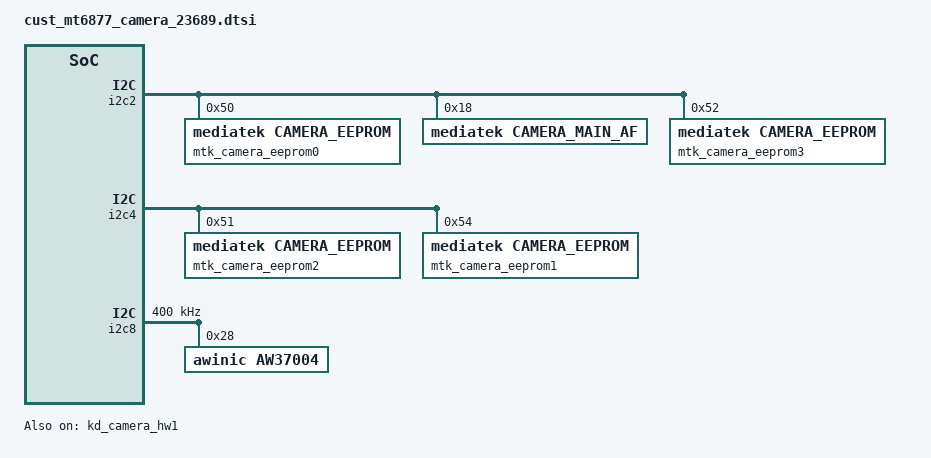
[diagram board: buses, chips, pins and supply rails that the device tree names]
/*
 * Copyright (c) 2019 MediaTek Inc.
 *
 * This program is free software; you can redistribute it and/or modify
 * it under the terms of the GNU General Public License version 2 as
 * published by the Free Software Foundation.
 *
 * This program is distributed in the hope that it will be useful,
 * but WITHOUT ANY WARRANTY; without even the implied warranty of
 * MERCHANTABILITY or FITNESS FOR A PARTICULAR PURPOSE.  See the
 * GNU General Public License for more details.
 */
/* CAMERA GPIO standardization */

&pio {
	camera_pins_cam0_rst_0: cam0@cam0 {
		pins_cmd_dat {
			pinmux = <PINMUX_GPIO161__FUNC_GPIO161>;
			slew-rate = <1>;
			output-low;
		};
	};
	camera_pins_cam0_rst_1: cam0@cam1 {
		pins_cmd_dat {
			pinmux = <PINMUX_GPIO161__FUNC_GPIO161>;
			slew-rate = <1>;
			output-high;
		};
	};
	camera_pins_cam1_rst_0: cam1@vcam0 {
		pins_cmd_dat {
			pinmux = <PINMUX_GPIO155__FUNC_GPIO155>;
			slew-rate = <1>;
			output-low;
		};
	};
	camera_pins_cam1_rst_1: cam1@vcam1 {
		pins_cmd_dat {
			pinmux = <PINMUX_GPIO155__FUNC_GPIO155>;
			slew-rate = <1>;
			output-high;
		};
	};
	camera_pins_cam2_rst_0: cam2@cam0 {
		pins_cmd_dat {
			pinmux = <PINMUX_GPIO163__FUNC_GPIO163>;
			slew-rate = <1>;
			output-low;
		};
	};
	camera_pins_cam2_rst_1: cam2@cam1 {
		pins_cmd_dat {
			pinmux = <PINMUX_GPIO163__FUNC_GPIO163>;
			slew-rate = <1>;
			output-high;
		};
	};
	camera_pins_cam3_rst_0: cam3@cam0 {
		pins_cmd_dat {
			pinmux = <PINMUX_GPIO159__FUNC_GPIO159>;
			slew-rate = <1>;
			output-low;
		};
	};
	camera_pins_cam3_rst_1: cam3@cam1 {
		pins_cmd_dat {
			pinmux = <PINMUX_GPIO159__FUNC_GPIO159>;
			slew-rate = <1>;
			output-high;
		};
	};
	camera_pins_cam0_vcamaf_0: cam0@cam2 {
		pins_cmd_dat {
			pinmux = <PINMUX_GPIO111__FUNC_GPIO111>;
			slew-rate = <1>;
			output-low;
		};
	};
	camera_pins_cam0_vcamaf_1: cam0@cam3 {
		pins_cmd_dat {
			pinmux = <PINMUX_GPIO111__FUNC_GPIO111>;
			slew-rate = <1>;
			output-high;
		};
	};
	camera_pins_cam0_vcama1_0: cam0@vcam4 {
		pins_cmd_dat {
			pinmux = <PINMUX_GPIO106__FUNC_GPIO106>;
			slew-rate = <1>;
			output-low;
		};
	};
	camera_pins_cam0_vcama1_1: cam0@vcam5 {
		pins_cmd_dat {
			pinmux = <PINMUX_GPIO106__FUNC_GPIO106>;
			slew-rate = <1>;
			output-high;
		};
	};
	camera_pins_cam0_pnd_0: cam0@vcam6 {
		pins_cmd_dat {
			pinmux = <PINMUX_GPIO158__FUNC_GPIO158>;
			slew-rate = <1>;
			output-low;
		};
	};
	camera_pins_cam0_pnd_1: cam0@vcam7 {
		pins_cmd_dat {
			pinmux = <PINMUX_GPIO158__FUNC_GPIO158>;
			slew-rate = <1>;
			output-high;
		};
	};
	camera_pins_cam0_vcamois_0: cam0@vcam8 {
		pins_cmd_dat {
			pinmux = <PINMUX_GPIO3__FUNC_TP_GPIO3_AO>;
			slew-rate = <0>;
			output-low;
		};
	};
	camera_pins_cam0_vcamois_1: cam0@vcam9 {
		pins_cmd_dat {
			pinmux = <PINMUX_GPIO3__FUNC_TP_GPIO3_AO>;
			slew-rate = <0>;
			output-high;
		};
	};
	camera_pins_cam1_pnd_0: cam1@vcam2 {
		pins_cmd_dat {
			pinmux = <PINMUX_GPIO158__FUNC_GPIO158>;
			slew-rate = <1>;
			output-low;
		};
	};
	camera_pins_cam1_pnd_1: cam1@vcam3 {
		pins_cmd_dat {
			pinmux = <PINMUX_GPIO158__FUNC_GPIO158>;
			slew-rate = <1>;
			output-high;
		};
	};
	camera_pins_cam2_pnd_0: cam2@vcam2 {
		pins_cmd_dat {
			pinmux = <PINMUX_GPIO158__FUNC_GPIO158>;
			slew-rate = <1>;
			output-low;
		};
	};
	camera_pins_cam2_pnd_1: cam2@vcam3 {
		pins_cmd_dat {
			pinmux = <PINMUX_GPIO158__FUNC_GPIO158>;
			slew-rate = <1>;
			output-high;
		};
	};
	camera_pins_cam2_vcama_0: cam2@vcam4 {
		pins_cmd_dat {
			pinmux = <PINMUX_GPIO138__FUNC_GPIO138>;
			slew-rate = <1>;
			output-low;
		};
	};
	camera_pins_cam2_vcama_1: cam2@vcam5 {
		pins_cmd_dat {
			pinmux = <PINMUX_GPIO138__FUNC_GPIO138>;
			slew-rate = <1>;
			output-high;
		};
	};
	camera_pins_cam2_vcamd_0: cam2@vcam6 {
		pins_cmd_dat {
			pinmux = <PINMUX_GPIO109__FUNC_GPIO109>;
			slew-rate = <1>;
			output-low;
		};
	};
	camera_pins_cam2_vcamd_1: cam2@vcam7 {
		pins_cmd_dat {
			pinmux = <PINMUX_GPIO109__FUNC_GPIO109>;
			slew-rate = <1>;
			output-high;
		};
	};
	camera_pins_cam3_vcama_0: cam3@vcam2 {
		pins_cmd_dat {
			pinmux = <PINMUX_GPIO138__FUNC_GPIO138>;
			slew-rate = <1>;
			output-low;
		};
	};
	camera_pins_cam3_vcama_1: cam3@vcam3 {
		pins_cmd_dat {
			pinmux = <PINMUX_GPIO138__FUNC_GPIO138>;
			slew-rate = <1>;
			output-high;
		};
	};
	camera_pins_cam0_mclk_off: camera_pins_cam0_mclk_off {
		pins_cmd_dat {
			pinmux = <PINMUX_GPIO149__FUNC_GPIO149>;
			drive-strength = <1>;
		};
	};
	camera_pins_cam0_mclk_2ma: camera_pins_cam0_mclk_2ma {
		pins_cmd_dat {
			pinmux = <PINMUX_GPIO149__FUNC_CMMCLK0>;
			drive-strength = <0>;
		};
	};
	camera_pins_cam0_mclk_4ma: camera_pins_cam0_mclk_4ma {
		pins_cmd_dat {
			pinmux = <PINMUX_GPIO149__FUNC_CMMCLK0>;
			drive-strength = <1>;
		};
	};
	camera_pins_cam0_mclk_6ma: camera_pins_cam0_mclk_6ma {
		pins_cmd_dat {
			pinmux = <PINMUX_GPIO149__FUNC_CMMCLK0>;
			drive-strength = <2>;
		};
	};
	camera_pins_cam0_mclk_8ma: camera_pins_cam0_mclk_8ma {
		pins_cmd_dat {
			pinmux = <PINMUX_GPIO149__FUNC_CMMCLK0>;
			drive-strength = <3>;
		};
	};
	camera_pins_cam1_mclk_off: camera_pins_cam1_mclk_off {
		pins_cmd_dat {
			pinmux = <PINMUX_GPIO153__FUNC_GPIO153>;
			drive-strength = <1>;
		};
	};
	camera_pins_cam1_mclk_2ma: camera_pins_cam1_mclk_2ma {
		pins_cmd_dat {
			pinmux = <PINMUX_GPIO153__FUNC_CMMCLK4>;
			drive-strength = <0>;
		};
	};
	camera_pins_cam1_mclk_4ma: camera_pins_cam1_mclk_4ma {
		pins_cmd_dat {
			pinmux = <PINMUX_GPIO153__FUNC_CMMCLK4>;
			drive-strength = <1>;
		};
	};
	camera_pins_cam1_mclk_6ma: camera_pins_cam1_mclk_6ma {
		pins_cmd_dat {
			pinmux = <PINMUX_GPIO153__FUNC_CMMCLK4>;
			drive-strength = <2>;
		};
	};
	camera_pins_cam1_mclk_8ma: camera_pins_cam1_mclk_8ma {
		pins_cmd_dat {
			pinmux = <PINMUX_GPIO153__FUNC_CMMCLK4>;
			drive-strength = <3>;
		};
	};
	camera_pins_cam2_mclk_off: camera_pins_cam2_mclk_off {
		pins_cmd_dat {
			pinmux = <PINMUX_GPIO150__FUNC_GPIO150>;
			drive-strength = <1>;
		};
	};
	camera_pins_cam2_mclk_2ma: camera_pins_cam2_mclk_2ma {
		pins_cmd_dat {
			pinmux = <PINMUX_GPIO150__FUNC_CMMCLK1>;
			drive-strength = <0>;
		};
	};
	camera_pins_cam2_mclk_4ma: camera_pins_cam2_mclk_4ma {
		pins_cmd_dat {
			pinmux = <PINMUX_GPIO150__FUNC_CMMCLK1>;
			drive-strength = <1>;
		};
	};
	camera_pins_cam2_mclk_6ma: camera_pins_cam2_mclk_6ma {
		pins_cmd_dat {
			pinmux = <PINMUX_GPIO150__FUNC_CMMCLK1>;
			drive-strength = <2>;
		};
	};
	camera_pins_cam2_mclk_8ma: camera_pins_cam2_mclk_8ma {
		pins_cmd_dat {
			pinmux = <PINMUX_GPIO150__FUNC_CMMCLK1>;
			drive-strength = <3>;
		};
	};
	camera_pins_cam3_mclk_off: camera_pins_cam3_mclk_off {
		pins_cmd_dat {
			pinmux = <PINMUX_GPIO151__FUNC_GPIO151>;
			drive-strength = <1>;
		};
	};
	camera_pins_cam3_mclk_2ma: camera_pins_cam3_mclk_2ma {
		pins_cmd_dat {
			pinmux = <PINMUX_GPIO151__FUNC_CMMCLK2>;
			drive-strength = <0>;
		};
	};
	camera_pins_cam3_mclk_4ma: camera_pins_cam3_mclk_4ma {
		pins_cmd_dat {
			pinmux = <PINMUX_GPIO151__FUNC_CMMCLK2>;
			drive-strength = <1>;
		};
	};
	camera_pins_cam3_mclk_6ma: camera_pins_cam3_mclk_6ma {
		pins_cmd_dat {
			pinmux = <PINMUX_GPIO151__FUNC_CMMCLK2>;
			drive-strength = <2>;
		};
	};
	camera_pins_cam3_mclk_8ma: camera_pins_cam3_mclk_8ma {
		pins_cmd_dat {
			pinmux = <PINMUX_GPIO151__FUNC_CMMCLK2>;
			drive-strength = <3>;
		};
	};
	camera_pins_default: camdefault {
	};
};
&kd_camera_hw1 {
	pinctrl-names = "default",
			"cam0_rst0", "cam0_rst1",
			"cam1_rst0", "cam1_rst1",
			"cam2_rst0", "cam2_rst1",
			"cam3_rst0", "cam3_rst1",
			"cam0_ldo_vcamaf_0", "cam0_ldo_vcamaf_1",
			"cam0_ldo_vcama1_0", "cam0_ldo_vcama1_1",
			"cam0_pnd0", "cam0_pnd1",
			"cam0_ldo_vcamois_0", "cam0_ldo_vcamois_1",
			"cam1_pnd0", "cam1_pnd1",
			"cam2_pnd0", "cam2_pnd1",
			"cam2_ldo_vcama_0", "cam2_ldo_vcama_1",
			"cam2_ldo_vcamd_0", "cam2_ldo_vcamd_1",
			"cam3_ldo_vcama_0", "cam3_ldo_vcama_1",
			"cam0_mclk_off",
			"cam0_mclk_2mA", "cam0_mclk_4mA",
			"cam0_mclk_6mA", "cam0_mclk_8mA",
			"cam1_mclk_off",
			"cam1_mclk_2mA", "cam1_mclk_4mA",
			"cam1_mclk_6mA", "cam1_mclk_8mA",
			"cam2_mclk_off",
			"cam2_mclk_2mA", "cam2_mclk_4mA",
			"cam2_mclk_6mA", "cam2_mclk_8mA",
			"cam3_mclk_off",
			"cam3_mclk_2mA", "cam3_mclk_4mA",
			"cam3_mclk_6mA", "cam3_mclk_8mA";

	pinctrl-0 = <&camera_pins_default>;
	pinctrl-1 = <&camera_pins_cam0_rst_0>;
	pinctrl-2 = <&camera_pins_cam0_rst_1>;
	pinctrl-3 = <&camera_pins_cam1_rst_0>;
	pinctrl-4 = <&camera_pins_cam1_rst_1>;
	pinctrl-5 = <&camera_pins_cam2_rst_0>;
	pinctrl-6 = <&camera_pins_cam2_rst_1>;
	pinctrl-7 = <&camera_pins_cam3_rst_0>;
	pinctrl-8 = <&camera_pins_cam3_rst_1>;
	pinctrl-9 = <&camera_pins_cam0_vcamaf_0>;
	pinctrl-10 = <&camera_pins_cam0_vcamaf_1>;
	pinctrl-11 = <&camera_pins_cam0_vcama1_0>;
	pinctrl-12 = <&camera_pins_cam0_vcama1_1>;
	pinctrl-13 = <&camera_pins_cam0_pnd_0>;
	pinctrl-14 = <&camera_pins_cam0_pnd_1>;
	pinctrl-15 = <&camera_pins_cam0_vcamois_0>;
	pinctrl-16 = <&camera_pins_cam0_vcamois_1>;
	pinctrl-17 = <&camera_pins_cam1_pnd_0>;
	pinctrl-18 = <&camera_pins_cam1_pnd_1>;
	pinctrl-19 = <&camera_pins_cam2_pnd_0>;
	pinctrl-20 = <&camera_pins_cam2_pnd_1>;
	pinctrl-21 = <&camera_pins_cam2_vcama_0>;
	pinctrl-22 = <&camera_pins_cam2_vcama_1>;
	pinctrl-23 = <&camera_pins_cam2_vcamd_0>;
	pinctrl-24 = <&camera_pins_cam2_vcamd_1>;
	pinctrl-25 = <&camera_pins_cam3_vcama_0>;
	pinctrl-26 = <&camera_pins_cam3_vcama_1>;
	pinctrl-27 = <&camera_pins_cam0_mclk_off>;
	pinctrl-28 = <&camera_pins_cam0_mclk_2ma>;
	pinctrl-29 = <&camera_pins_cam0_mclk_4ma>;
	pinctrl-30 = <&camera_pins_cam0_mclk_6ma>;
	pinctrl-31 = <&camera_pins_cam0_mclk_8ma>;
	pinctrl-32 = <&camera_pins_cam1_mclk_off>;
	pinctrl-33 = <&camera_pins_cam1_mclk_2ma>;
	pinctrl-34 = <&camera_pins_cam1_mclk_4ma>;
	pinctrl-35 = <&camera_pins_cam1_mclk_6ma>;
	pinctrl-36 = <&camera_pins_cam1_mclk_8ma>;
	pinctrl-37 = <&camera_pins_cam2_mclk_off>;
	pinctrl-38 = <&camera_pins_cam2_mclk_2ma>;
	pinctrl-39 = <&camera_pins_cam2_mclk_4ma>;
	pinctrl-40 = <&camera_pins_cam2_mclk_6ma>;
	pinctrl-41 = <&camera_pins_cam2_mclk_8ma>;
	pinctrl-42 = <&camera_pins_cam3_mclk_off>;
	pinctrl-43 = <&camera_pins_cam3_mclk_2ma>;
	pinctrl-44 = <&camera_pins_cam3_mclk_4ma>;
	pinctrl-45 = <&camera_pins_cam3_mclk_6ma>;
	pinctrl-46 = <&camera_pins_cam3_mclk_8ma>;

	cam0_vcamio-supply = <&mt_pmic_vcamio_ldo_reg>;
	cam1_vcamio-supply = <&mt_pmic_vcamio_ldo_reg>;
	cam2_vcamio-supply = <&mt_pmic_vcamio_ldo_reg>;
	cam3_vcamio-supply = <&mt_pmic_vcamio_ldo_reg>;

	cam0_enable_sensor = "imx890_mipi_raw23689";
	cam1_enable_sensor = "hi1634q_mipi_raw23687";
	cam2_enable_sensor = "hi846w_mipi_raw23687";
	cam3_enable_sensor = "gc02m1_mipi_raw23687";

	status = "okay";
};
/* CAMERA GPIO end */

 /*CAMERA EEPROM*/
&i2c2 {
	mtk_camera_eeprom0:camera_eeprom0@50 {
		compatible = "mediatek,camera_eeprom";
		reg = <0x50>;
		status = "okay";
	};
	camera_main_af:camera_main_af@18 {
		compatible = "mediatek,camera_main_af";
		reg = <0x18>;
		status = "okay";
	};
	mtk_camera_eeprom3:camera_eeprom3@52 {
		compatible = "mediatek,camera_eeprom";
		reg = <0x52>;
		status = "okay";
	};
};
&i2c4 {
	mtk_camera_eeprom2:camera_eeprom2@51 {
		compatible = "mediatek,camera_eeprom";
		reg = <0x51>;
		status = "okay";
	};
	mtk_camera_eeprom1:camera_eeprom1@54 {
		compatible = "mediatek,camera_eeprom";
		reg = <0x54>;
		status = "okay";
	};
};
/* CAMERA EEPROM end */

/* CAMERA AW37004DNR*/
&i2c8 {
	status = "okay";
	clock-frequency = <400000>;
	mediatek,use-push-pull;
	#address-cells = <1>;
	#size-cells = <0>;
	aw37004@28{
		compatible = "awinic,aw37004";
		reg = <0x28>;
		status = "okay";
	};
};
/* CAMERA AW37004DNR END*/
